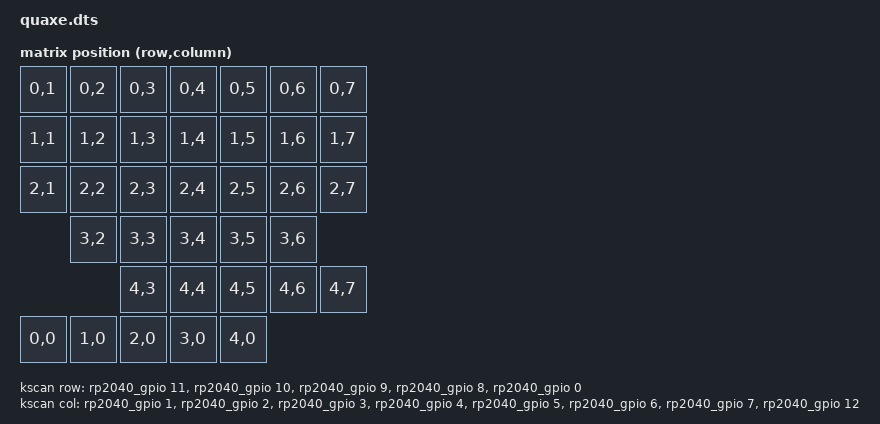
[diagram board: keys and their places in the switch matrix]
/dts-v1/;

#include <raspberrypi/rpi_pico/rp2040.dtsi>
#include <dt-bindings/zmk/matrix_transform.h>
#include <zephyr/dt-bindings/pinctrl/rpi-pico-rp2040-pinctrl.h>
#include <physical_layouts.dtsi>

/ {
    chosen {
        zephyr,sram = &sram0;
        zephyr,flash = &flash0;
        zephyr,flash-controller = &ssi;
        zephyr,code-partition = &code_partition;
    };

    default_transform: default_transform {
        compatible = "zmk,matrix-transform";
        columns = <8>;
        rows = <5>;
        map = <
            RC(0,1) RC(0,2) RC(0,3) RC(0,4) RC(0,5) RC(0,6) RC(0,7)
            RC(1,1) RC(1,2) RC(1,3) RC(1,4) RC(1,5) RC(1,6) RC(1,7)
            RC(2,1) RC(2,2) RC(2,3) RC(2,4) RC(2,5) RC(2,6) RC(2,7)
                    RC(3,2) RC(3,3) RC(3,4) RC(3,5) RC(3,6)
                            RC(4,3) RC(4,4) RC(4,5) RC(4,6) RC(4,7)
            RC(0,0) RC(1,0) RC(2,0) RC(3,0) RC(4,0)
        >;
    };

    kscan: kscan {
        compatible = "zmk,kscan-gpio-matrix";
        diode-direction = "row2col";
        row-gpios
            = <&rp2040_gpio 11 GPIO_ACTIVE_LOW>  // Numbers
            , <&rp2040_gpio 10 GPIO_ACTIVE_LOW>  // Top
            , <&rp2040_gpio  9 GPIO_ACTIVE_LOW>  // Home
            , <&rp2040_gpio  8 GPIO_ACTIVE_LOW>  // Bottom
            , <&rp2040_gpio  0 GPIO_ACTIVE_LOW>  // Thumb
        ;

        col-gpios
            = <&rp2040_gpio  1 (GPIO_ACTIVE_LOW | GPIO_PULL_UP)>  // Bépo
            , <&rp2040_gpio  2 (GPIO_ACTIVE_LOW | GPIO_PULL_UP)>  // Outer
            , <&rp2040_gpio  3 (GPIO_ACTIVE_LOW | GPIO_PULL_UP)>  // Pinky
            , <&rp2040_gpio  4 (GPIO_ACTIVE_LOW | GPIO_PULL_UP)>  // Ring
            , <&rp2040_gpio  5 (GPIO_ACTIVE_LOW | GPIO_PULL_UP)>  // Middle
            , <&rp2040_gpio  6 (GPIO_ACTIVE_LOW | GPIO_PULL_UP)>  // Index
            , <&rp2040_gpio  7 (GPIO_ACTIVE_LOW | GPIO_PULL_UP)>  // Inner
            , <&rp2040_gpio 12 (GPIO_ACTIVE_LOW | GPIO_PULL_UP)>  //  Tmx
        ;
    };

    //                                     w   h     x      y   rot rx ry
    #define KEY(x, y) &key_physical_attrs 100 100 (x*50) (y*50)  0  0  0

    physical_layout: physical_layout {
        compatible = "zmk,physical-layout";
        display-name = "Default Layout";
        kscan = <&kscan>; // Label of the kscan node, optional if all layouts use the same
        transform = <&default_transform>; // Label of the matrix transform for this layout
        keys
            = <KEY(0,  0)>
            , <KEY(1,  1)>
            , <KEY(2,  0)>
            , <KEY(3,  0)>
            , <KEY(4,  0)>
            , <KEY(5,  0)>
            , <KEY(6,  0)>
            , <KEY(7,  1)>

            , <KEY(0,  2)>
            , <KEY(1,  3)>
            , <KEY(2,  2)>
            , <KEY(3,  2)>
            , <KEY(4,  2)>
            , <KEY(5,  2)>
            , <KEY(6,  2)>
            , <KEY(7,  3)>

            , <KEY(0,  4)>
            , <KEY(1,  5)>
            , <KEY(2,  4)>
            , <KEY(3,  4)>
            , <KEY(4,  4)>
            , <KEY(5,  4)>
            , <KEY(6,  4)>
            , <KEY(7,  5)>

            , <KEY(0,  6)>
            , <KEY(2,  6)>
            , <KEY(3,  6)>
            , <KEY(4,  6)>
            , <KEY(5,  6)>
            , <KEY(6,  6)>

            , <KEY(0,  8)>
            , <KEY(3,  8)>
            , <KEY(4,  8)>
            , <KEY(5,  8)>
            , <KEY(6,  8)>
            , <KEY(7,  8)>
            ;
    };
};

rp2040_gpio: &gpio0 {
    status = "okay";
};

&timer {
    status = "okay";
};

&rtc {
    clocks = <&clocks RPI_PICO_CLKID_CLK_RTC>;
    status = "okay";
};

&vreg {
    regulator-always-on;
    regulator-allowed-modes = <REGULATOR_RPI_PICO_MODE_NORMAL>;
};

zephyr_udc0: &usbd {
    status = "okay";
};

&flash0 {
    // Flex 25.xx: W25Q128JV onboard flash, 128M-bit memory (16MB).
    // Flex 26.01: W25Q16JVUX onboard flash, 16M-bit memory (2MB).
    // 2MB is more than enough, so let's use that for all Flex versions.
    reg = <0x10000000 DT_SIZE_M(2)>;

    partitions {
        compatible = "fixed-partitions";
        #address-cells = <1>;
        #size-cells = <1>;

        // Reserved memory for the second-stage bootloader
        second_stage_bootloader: partition@0 {
            reg = <0x00000000 0x100>;
            read-only;
        };

        // Usable flash. Starts at 0x100, after the bootloader. The partition
        // size is 2MB minus:
        // - 0x100 bytes taken by the bootloader
        // - 0x20000 bytes (= 128 kB) taken by storage
        code_partition: partition@100 {
            reg = <0x100 (DT_SIZE_M(2) - 0x100 - DT_SIZE_K(128))>;
            read-only;
        };

        // Extra storage needed to store extra tweaks done using ZMK-Studio
        storage_partition: partition@1e0000 {
            reg = <0x1e0000 DT_SIZE_K(128)>;
        };
    };
};

&xosc {
    // Ensure the 12MHz oscillator has enough time to stabilize properly.
    // Required by Flex 25.xx, should be useless with Flex 26.01.
    startup-delay-multiplier = <64>;
};
